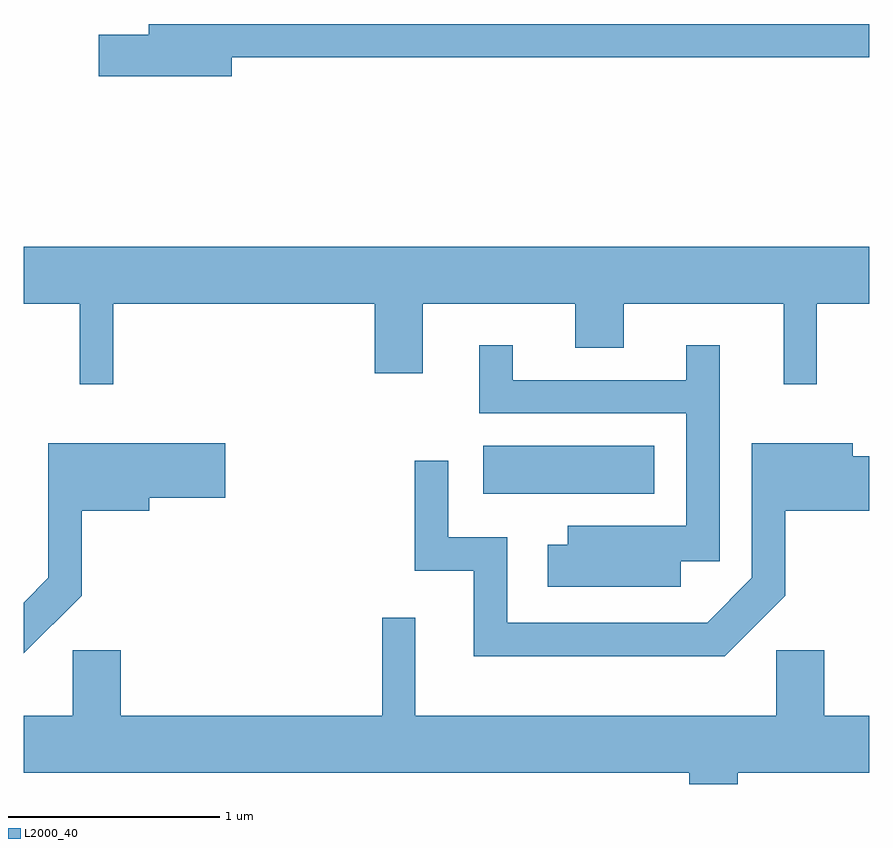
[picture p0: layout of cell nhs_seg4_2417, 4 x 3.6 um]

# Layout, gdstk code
import gdstk
lib = gdstk.Library(unit=1e-6, precision=1e-09)
def R(c, l, rs):  # rectangles x0, y0, x1, y1
    for r in rs: c.add(gdstk.rectangle(r[:2], r[2:], *l))
def P(c, l, *ps):  # polygons
    for p in ps: c.add(gdstk.Polygon(p, *l))
L2000_40 = (2000, 40)

nhs_seg4_2417 = lib.new_cell('nhs_seg4_2417')
R(nhs_seg4_2417, L2000_40, [(257.786,1329.356,258.594,1329.584)])
P(nhs_seg4_2417, L2000_40, [(256.594,1331.421),(259.611,1331.421),(259.611,1331.579),(256.201,1331.579),(256.201,1331.529),(255.966,1331.529),(255.966,1331.331),(256.594,1331.331)],
  [(256.034,1330.256),(257.271,1330.256),(257.271,1329.926),(257.499,1329.926),(257.499,1330.256),(258.221,1330.256),(258.221,1330.046),(258.449,1330.046),(258.449,1330.256),(259.206,1330.256),(259.206,1329.873),(259.364,1329.873),(259.364,1330.256),(259.611,1330.256),(259.611,1330.524),(255.611,1330.524),(255.611,1330.256),(255.876,1330.256),(255.876,1329.873),(256.034,1329.873)],
  [(258.719,1329.036),(258.904,1329.036),(258.904,1330.058),(258.746,1330.058),(258.746,1329.894),(257.924,1329.894),(257.924,1330.058),(257.766,1330.058),(257.766,1329.736),(258.746,1329.736),(258.746,1329.204),(258.186,1329.204),(258.186,1329.114),(258.091,1329.114),(258.091,1328.916),(258.719,1328.916)],
  [(259.214,1328.874),(259.214,1329.276),(259.611,1329.276),(259.611,1329.534),(259.534,1329.534),(259.534,1329.594),(259.056,1329.594),(259.056,1328.957),(258.844,1328.744),(257.899,1328.744),(257.899,1329.149),(257.619,1329.149),(257.619,1329.513),(257.461,1329.513),(257.461,1328.991),(257.741,1328.991),(257.741,1328.586),(258.927,1328.586)],
  [(255.884,1328.874),(255.884,1329.276),(256.204,1329.276),(256.204,1329.336),(256.564,1329.336),(256.564,1329.594),(255.726,1329.594),(255.726,1328.957),(255.611,1328.841),(255.611,1328.6)],
  [(258.989,1328.036),(259.611,1328.036),(259.611,1328.304),(259.399,1328.304),(259.399,1328.614),(259.171,1328.614),(259.171,1328.304),(257.464,1328.304),(257.464,1328.768),(257.306,1328.768),(257.306,1328.304),(256.069,1328.304),(256.069,1328.614),(255.841,1328.614),(255.841,1328.304),(255.611,1328.304),(255.611,1328.036),(258.761,1328.036),(258.761,1327.982),(258.989,1327.982)])

lib.write_gds('nhs_seg4_2417.gds')
